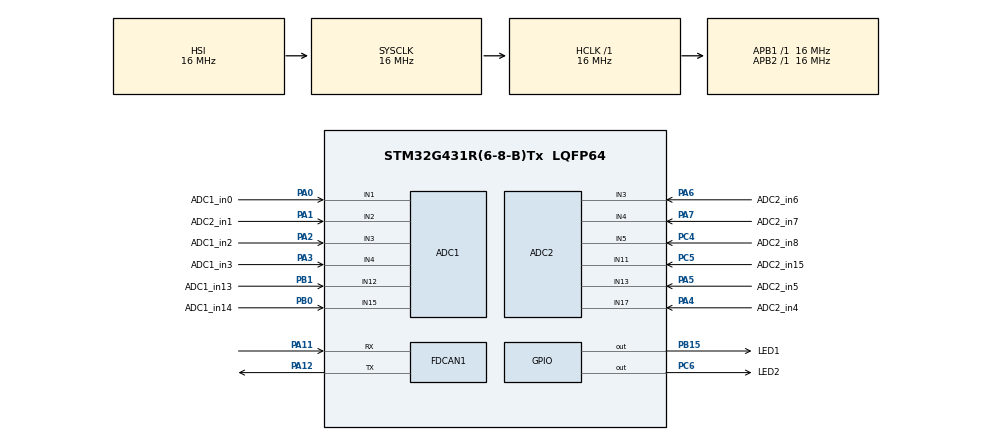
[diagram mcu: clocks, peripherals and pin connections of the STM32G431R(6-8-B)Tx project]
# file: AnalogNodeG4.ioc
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ADC1.Channel-0\#ChannelRegularConversion=ADC_CHANNEL_1
ADC1.Channel-1\#ChannelRegularConversion=ADC_CHANNEL_2
ADC1.Channel-2\#ChannelRegularConversion=ADC_CHANNEL_3
ADC1.Channel-3\#ChannelRegularConversion=ADC_CHANNEL_4
ADC1.Channel-4\#ChannelRegularConversion=ADC_CHANNEL_12
ADC1.Channel-5\#ChannelRegularConversion=ADC_CHANNEL_15
ADC1.ClockPrescaler=ADC_CLOCK_ASYNC_DIV32
ADC1.ContinuousConvMode=ENABLE
ADC1.DMAContinuousRequests=ENABLE
ADC1.NbrOfConversion=6
ADC1.NbrOfConversionFlag=1
ADC1.OffsetNumber-0\#ChannelRegularConversion=ADC_OFFSET_NONE
ADC1.OffsetNumber-1\#ChannelRegularConversion=ADC_OFFSET_NONE
ADC1.OffsetNumber-2\#ChannelRegularConversion=ADC_OFFSET_NONE
ADC1.OffsetNumber-3\#ChannelRegularConversion=ADC_OFFSET_NONE
ADC1.OffsetNumber-4\#ChannelRegularConversion=ADC_OFFSET_NONE
ADC1.OffsetNumber-5\#ChannelRegularConversion=ADC_OFFSET_NONE
ADC1.Rank-0\#ChannelRegularConversion=1
ADC1.Rank-1\#ChannelRegularConversion=2
ADC1.Rank-2\#ChannelRegularConversion=3
ADC1.Rank-3\#ChannelRegularConversion=4
ADC1.Rank-4\#ChannelRegularConversion=5
ADC1.Rank-5\#ChannelRegularConversion=6
ADC1.SamplingTime-0\#ChannelRegularConversion=ADC_SAMPLETIME_2CYCLES_5
ADC1.SamplingTime-1\#ChannelRegularConversion=ADC_SAMPLETIME_2CYCLES_5
ADC1.SamplingTime-2\#ChannelRegularConversion=ADC_SAMPLETIME_2CYCLES_5
ADC1.SamplingTime-3\#ChannelRegularConversion=ADC_SAMPLETIME_2CYCLES_5
ADC1.SamplingTime-4\#ChannelRegularConversion=ADC_SAMPLETIME_2CYCLES_5
ADC1.SamplingTime-5\#ChannelRegularConversion=ADC_SAMPLETIME_2CYCLES_5
ADC1.master=1
ADC2.Channel-0\#ChannelRegularConversion=ADC_CHANNEL_3
ADC2.Channel-1\#ChannelRegularConversion=ADC_CHANNEL_4
ADC2.Channel-2\#ChannelRegularConversion=ADC_CHANNEL_5
ADC2.Channel-3\#ChannelRegularConversion=ADC_CHANNEL_11
ADC2.Channel-4\#ChannelRegularConversion=ADC_CHANNEL_13
ADC2.Channel-5\#ChannelRegularConversion=ADC_CHANNEL_17
ADC2.ClockPrescaler=ADC_CLOCK_ASYNC_DIV32
ADC2.ContinuousConvMode=ENABLE
ADC2.DMAContinuousRequests=ENABLE
ADC2.NbrOfConversion=6
ADC2.NbrOfConversionFlag=1
ADC2.OffsetNumber-0\#ChannelRegularConversion=ADC_OFFSET_NONE
ADC2.OffsetNumber-1\#ChannelRegularConversion=ADC_OFFSET_NONE
ADC2.OffsetNumber-2\#ChannelRegularConversion=ADC_OFFSET_NONE
ADC2.OffsetNumber-3\#ChannelRegularConversion=ADC_OFFSET_NONE
ADC2.OffsetNumber-4\#ChannelRegularConversion=ADC_OFFSET_NONE
ADC2.OffsetNumber-5\#ChannelRegularConversion=ADC_OFFSET_NONE
ADC2.Rank-0\#ChannelRegularConversion=1
ADC2.Rank-1\#ChannelRegularConversion=2
ADC2.Rank-2\#ChannelRegularConversion=3
ADC2.Rank-3\#ChannelRegularConversion=4
ADC2.Rank-4\#ChannelRegularConversion=5
ADC2.Rank-5\#ChannelRegularConversion=6
ADC2.SamplingTime-0\#ChannelRegularConversion=ADC_SAMPLETIME_2CYCLES_5
ADC2.SamplingTime-1\#ChannelRegularConversion=ADC_SAMPLETIME_2CYCLES_5
ADC2.SamplingTime-2\#ChannelRegularConversion=ADC_SAMPLETIME_2CYCLES_5
ADC2.SamplingTime-3\#ChannelRegularConversion=ADC_SAMPLETIME_2CYCLES_5
ADC2.SamplingTime-4\#ChannelRegularConversion=ADC_SAMPLETIME_2CYCLES_5
ADC2.SamplingTime-5\#ChannelRegularConversion=ADC_SAMPLETIME_2CYCLES_5
Dma.ADC1.0.Direction=DMA_PERIPH_TO_MEMORY
Dma.ADC1.0.EventEnable=DISABLE
Dma.ADC1.0.Instance=DMA1_Channel1
Dma.ADC1.0.MemDataAlignment=DMA_MDATAALIGN_HALFWORD
Dma.ADC1.0.MemInc=DMA_MINC_ENABLE
Dma.ADC1.0.Mode=DMA_CIRCULAR
Dma.ADC1.0.PeriphDataAlignment=DMA_PDATAALIGN_HALFWORD
Dma.ADC1.0.PeriphInc=DMA_PINC_DISABLE
Dma.ADC1.0.Polarity=HAL_DMAMUX_REQ_GEN_RISING
Dma.ADC1.0.Priority=DMA_PRIORITY_LOW
Dma.ADC1.0.RequestNumber=1
Dma.ADC1.0.SignalID=NONE
Dma.ADC1.0.SyncEnable=DISABLE
Dma.ADC1.0.SyncPolarity=HAL_DMAMUX_SYNC_NO_EVENT
Dma.ADC1.0.SyncRequestNumber=1
Dma.ADC1.0.SyncSignalID=NONE
Dma.ADC2.1.Direction=DMA_PERIPH_TO_MEMORY
Dma.ADC2.1.EventEnable=DISABLE
Dma.ADC2.1.Instance=DMA1_Channel2
Dma.ADC2.1.MemDataAlignment=DMA_MDATAALIGN_HALFWORD
Dma.ADC2.1.MemInc=DMA_MINC_ENABLE
Dma.ADC2.1.Mode=DMA_CIRCULAR
Dma.ADC2.1.PeriphDataAlignment=DMA_PDATAALIGN_HALFWORD
Dma.ADC2.1.PeriphInc=DMA_PINC_DISABLE
Dma.ADC2.1.Polarity=HAL_DMAMUX_REQ_GEN_RISING
Dma.ADC2.1.Priority=DMA_PRIORITY_LOW
Dma.ADC2.1.RequestNumber=1
Dma.ADC2.1.SignalID=NONE
Dma.ADC2.1.SyncEnable=DISABLE
Dma.ADC2.1.SyncPolarity=HAL_DMAMUX_SYNC_NO_EVENT
Dma.ADC2.1.SyncRequestNumber=1
Dma.ADC2.1.SyncSignalID=NONE
Dma.Request0=ADC1
Dma.Request1=ADC2
FDCAN1.AutoRetransmission=ENABLE
FDCAN1.CalculateBaudRateNominal=1000000
FDCAN1.CalculateTimeBitNominal=1000
FDCAN1.CalculateTimeQuantumNominal=62.5
FDCAN1.NominalPrescaler=1
FDCAN1.NominalTimeSeg1=13
FDCAN1.StdFiltersNbr=28
Mcu.Family=STM32G4
Mcu.Name=STM32G431R(6-8-B)Tx
Mcu.Package=LQFP64
NVIC.DMA1_Channel1_IRQn=true\:0\:0\:false\:false\:true\:false\:true\:true
NVIC.DMA1_Channel2_IRQn=true\:0\:0\:false\:false\:true\:false\:true\:true
NVIC.FDCAN1_IT0_IRQn=true\:0\:0\:false\:false\:true\:true\:true\:true
NVIC.PriorityGroup=NVIC_PRIORITYGROUP_4
NVIC.TIM3_IRQn=true\:0\:0\:false\:false\:true\:true\:true\:true
PA0.GPIO_Label=ADC1_in0
PA0.Signal=SharedAnalog_PA0
PA1.GPIO_Label=ADC2_in1
PA1.Signal=SharedAnalog_PA1
PA11.Mode=FDCAN_Activate
PA11.Signal=FDCAN1_RX
PA12.Mode=FDCAN_Activate
PA12.Signal=FDCAN1_TX
PA13.Mode=Serial_Wire
PA13.Signal=SYS_JTMS-SWDIO
PA14.Mode=Serial_Wire
PA14.Signal=SYS_JTCK-SWCLK
PA2.GPIO_Label=ADC1_in2
PA2.Mode=IN3-Single-Ended
PA2.Signal=ADC1_IN3
PA3.GPIO_Label=ADC1_in3
PA3.Mode=IN4-Single-Ended
PA3.Signal=ADC1_IN4
PA4.GPIO_Label=ADC2_in4
PA4.Mode=IN17-Single-Ended
PA4.Signal=ADC2_IN17
PA5.GPIO_Label=ADC2_in5
PA5.Mode=IN13-Single-Ended
PA5.Signal=ADC2_IN13
PA6.GPIO_Label=ADC2_in6
PA6.Mode=IN3-Single-Ended
PA6.Signal=ADC2_IN3
PA7.GPIO_Label=ADC2_in7
PA7.Mode=IN4-Single-Ended
PA7.Signal=ADC2_IN4
PB0.GPIO_Label=ADC1_in14
PB0.Mode=IN15-Single-Ended
PB0.Signal=ADC1_IN15
PB1.GPIO_Label=ADC1_in13
PB1.Mode=IN12-Single-Ended
PB1.Signal=ADC1_IN12
PB15.GPIO_Label=LED1
PB15.Signal=GPIO_Output
PC4.GPIO_Label=ADC2_in8
PC4.Mode=IN5-Single-Ended
PC4.Signal=ADC2_IN5
PC5.GPIO_Label=ADC2_in15
PC5.Mode=IN11-Single-Ended
PC5.Signal=ADC2_IN11
PC6.GPIO_Label=LED2
PC6.Signal=GPIO_Output
PF0-OSC_IN.Mode=HSE-External-Oscillator
PF0-OSC_IN.Signal=RCC_OSC_IN
PF1-OSC_OUT.Mode=HSE-External-Oscillator
PF1-OSC_OUT.Signal=RCC_OSC_OUT
ProjectManager.HeapSize=0x200
ProjectManager.StackSize=0x400
ProjectManager.TargetToolchain=STM32CubeIDE
RCC.AHBFreq_Value=16000000
RCC.APB1Freq_Value=16000000
RCC.APB1TimFreq_Value=16000000
RCC.APB2Freq_Value=16000000
RCC.APB2TimFreq_Value=16000000
RCC.CortexFreq_Value=16000000
RCC.EXTERNAL_CLOCK_VALUE=12288000
RCC.HCLKFreq_Value=16000000
RCC.HSE_VALUE=8000000
RCC.HSI48_VALUE=48000000
RCC.HSI_VALUE=16000000
RCC.LSE_VALUE=32768
RCC.SYSCLKFreq_VALUE=16000000
RCC.USBFreq_Value=64000000
RCC.VCOOutputFreq_Value=128000000
SH.SharedAnalog_PA0.0=ADC2_IN1
SH.SharedAnalog_PA0.1=ADC1_IN1,IN1-Single-Ended
SH.SharedAnalog_PA1.0=ADC2_IN2
SH.SharedAnalog_PA1.1=ADC1_IN2,IN2-Single-Ended
TIM3.PeriodNoDither=999
TIM3.Prescaler=15
VP_SYS_VS_DBSignals.Mode=DisableDeadBatterySignals
VP_TIM3_VS_ClockSourceINT.Mode=Internal
board=custom

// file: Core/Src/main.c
/* USER CODE BEGIN Header */
/**
 ******************************************************************************
 * @file           : main.c
 * @brief          : Main program body
 ******************************************************************************
 * @attention
 *
 * Copyright (c) 2024 STMicroelectronics.
 * All rights reserved.
 *
 * This software is licensed under terms that can be found in the LICENSE file
 * in the root directory of this software component.
 * If no LICENSE file comes with this software, it is provided AS-IS.
 *
 ******************************************************************************
 */
/* USER CODE END Header */
#include "main.h"
#include "adc.h"
#include "dma.h"
#include "fdcan.h"
#include "gpio.h"
#include "tim.h"

/* USER CODE BEGIN Includes */
#include "config.h"
#include "functions.h"
#include "pedal_map.h"
#include "sensors.h"
#include "virtual_sensors.h"
#include <stdio.h>
#include <string.h>
/* USER CODE END Includes */

/* USER CODE BEGIN PV */
Sensor sensors[SENSOR_NUM];

uint16_t ADC1Data[SENSOR_NUM / 2];
uint16_t ADC2Data[SENSOR_NUM / 2];
uint16_t all_raw_data[SENSOR_NUM][ROLLING_AVE];

uint8_t AVE_POS = 0;
uint16_t CAN_interval = 1;
uint16_t init_can_id = 1;
uint32_t millis;
uint8_t CAN_enable = 0;
extern volatile uint8_t CANRxReady;

FDCAN_TxHeaderTypeDef TxHeader;
FDCAN_RxHeaderTypeDef RxHeader;

/* USER CODE END PV */

void SystemClock_Config(void);

int main(void)
{

  /* USER CODE BEGIN 1 */
  __enable_irq();
  /* USER CODE END 1 */

  /* MCU Configuration--------------------------------------------------------*/

  /* Reset of all peripherals, Initializes the Flash interface and the Systick. */
  HAL_Init();

  /* USER CODE BEGIN Init */
  Config_Setup();
  /* USER CODE END Init */

  /* Configure the system clock */
  SystemClock_Config();

  /* Initialize all configured peripherals */
  MX_GPIO_Init();
  MX_DMA_Init();
  MX_ADC1_Init();
  MX_FDCAN1_Init();
  MX_TIM3_Init();
  MX_ADC2_Init();
  /* USER CODE BEGIN 2 */
  if (HAL_TIM_Base_Start_IT(&htim3) != HAL_OK)
  {
    Error_Handler();
  };
  if (HAL_ADC_Start_DMA(&hadc1, (uint32_t*)ADC1Data, hadc1.Init.NbrOfConversion) != HAL_OK)
  {
    Error_Handler();
  }
  if (HAL_ADC_Start_DMA(&hadc2, (uint32_t*)ADC2Data, hadc2.Init.NbrOfConversion) != HAL_OK)
  {
    Error_Handler();
  }

  uint8_t counter = 0;

  /* USER CODE END 2 */

  /* Infinite loop */
  /* USER CODE BEGIN WHILE */

  while (1)
  {
    if (CAN_enable)
    {
      if (CANRxReady)
      {
        CAN_Message msg;
        __disable_irq();
        msg = RxMessage;
        CANRxReady = 0U;
        __enable_irq();
        decode(msg);
      }
      if (millis % CAN_interval == 0)
      {
        print(counter);
        counter++;
        if (counter == SENSOR_NUM)
        {
          HAL_GPIO_TogglePin(LED2_GPIO_Port, LED2_Pin);
          counter = 0;
        }
      }
    }
    /* USER CODE END WHILE */

  }
}

void SystemClock_Config(void)
{
  RCC_OscInitTypeDef RCC_OscInitStruct = {0};
  RCC_ClkInitTypeDef RCC_ClkInitStruct = {0};

  /** Configure the main internal regulator output voltage
   */
  HAL_PWREx_ControlVoltageScaling(PWR_REGULATOR_VOLTAGE_SCALE1);

  /** Initializes the RCC Oscillators according to the specified parameters
   * in the RCC_OscInitTypeDef structure.
   */
  RCC_OscInitStruct.OscillatorType = RCC_OSCILLATORTYPE_HSI;
  RCC_OscInitStruct.HSIState = RCC_HSI_ON;
  RCC_OscInitStruct.HSICalibrationValue = RCC_HSICALIBRATION_DEFAULT;
  RCC_OscInitStruct.PLL.PLLState = RCC_PLL_NONE;
  if (HAL_RCC_OscConfig(&RCC_OscInitStruct) != HAL_OK)
  {
    Error_Handler();
  }

  /** Initializes the CPU, AHB and APB buses clocks
   */
  RCC_ClkInitStruct.ClockType =
      RCC_CLOCKTYPE_HCLK | RCC_CLOCKTYPE_SYSCLK | RCC_CLOCKTYPE_PCLK1 | RCC_CLOCKTYPE_PCLK2;
  RCC_ClkInitStruct.SYSCLKSource = RCC_SYSCLKSOURCE_HSI;
  RCC_ClkInitStruct.AHBCLKDivider = RCC_SYSCLK_DIV1;
  RCC_ClkInitStruct.APB1CLKDivider = RCC_HCLK_DIV1;
  RCC_ClkInitStruct.APB2CLKDivider = RCC_HCLK_DIV1;

  if (HAL_RCC_ClockConfig(&RCC_ClkInitStruct, FLASH_LATENCY_0) != HAL_OK)
  {
    Error_Handler();
  }
}

/* USER CODE BEGIN 4 */
void HAL_ADC_ConvCpltCallback(ADC_HandleTypeDef* hadc)
{
  // Use a static flag to ensure both ADCs have finished a conversion cycle.
  // Bit 0 for ADC1, Bit 1 for ADC2.
  static uint8_t adc_done = 0;

  if (hadc->Instance == ADC1)
  {
    // Store ADC1 conversion results into sensors[0..5]
    for (uint8_t j = 0; j < hadc->Init.NbrOfConversion; j++)
    {
      all_raw_data[j][AVE_POS] = ADC1Data[j];
    }
    adc_done |= 0x01; // Mark ADC1 as done for this cycle.
  }
  else if (hadc->Instance == ADC2)
  {
    // Store ADC2 conversion results into sensors[6..11]
    for (uint8_t j = 0; j < hadc->Init.NbrOfConversion; j++)
    {
      all_raw_data[j + 6][AVE_POS] = ADC2Data[j];
    }
    adc_done |= 0x02; // Mark ADC2 as done for this cycle.
  }

  // Once both ADC1 and ADC2 have provided data:
  if (adc_done == 0x03)
  {
    adc_done = 0; // Reset the flag for the next conversion cycle.
    AVE_POS++;    // Advance the sample index.

    // When we have collected enough samples for a rolling average...
    if (AVE_POS >= ROLLING_AVE)
    {
      // For each sensor (total SENSOR_NUM = 12 sensors)
      for (int i = 0; i < SENSOR_NUM; i++)
      {
        uint32_t sum = 0;
        for (int z = 0; z < ROLLING_AVE; z++)
        {
          sum += all_raw_data[i][z];
        }
        // Store the average in the sensor structure.
        sensors[i].averages = sum / ROLLING_AVE;
      }
      AVE_POS = 0; // Reset the sample index for the next averaging period.
    }
  }
}
/* USER CODE END 4 */

void Error_Handler(void)
{
  __disable_irq();
  while (1)
  {
  }
}
